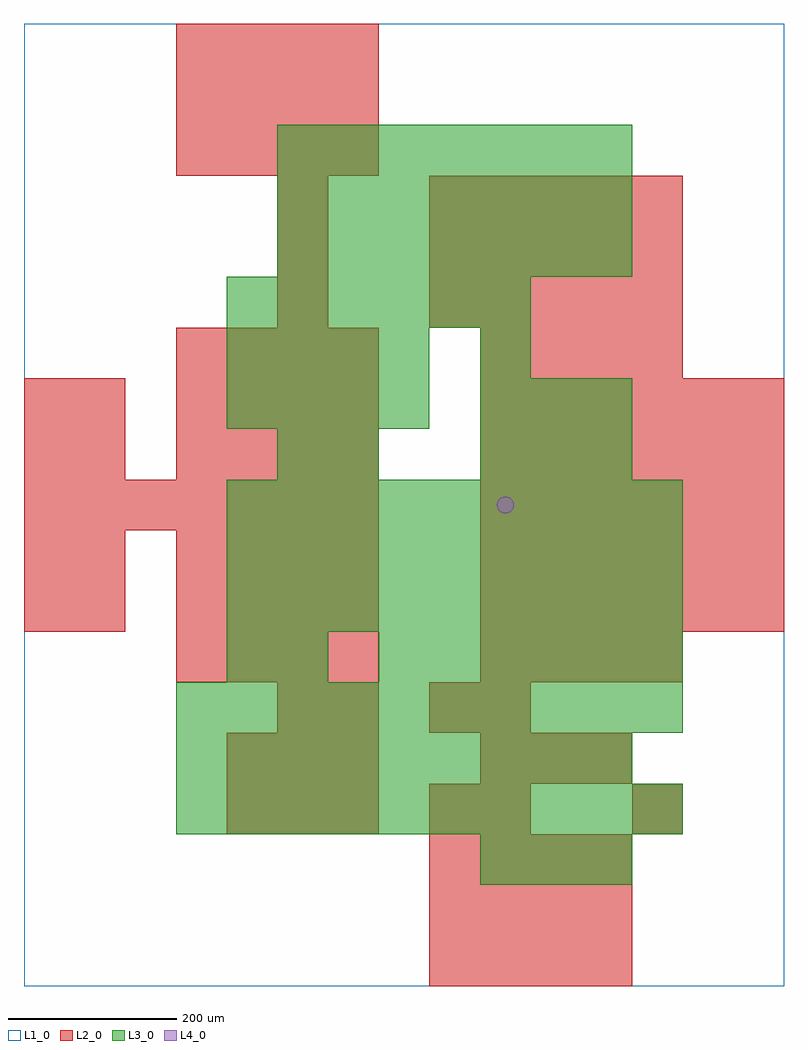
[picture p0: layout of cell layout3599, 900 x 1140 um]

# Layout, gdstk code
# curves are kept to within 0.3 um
import gdstk
lib = gdstk.Library(unit=1e-6, precision=1e-09)
def R(c, l, rs):  # rectangles x0, y0, x1, y1
    for r in rs: c.add(gdstk.rectangle(r[:2], r[2:], *l))
def A(c, l, x, y, w, h, nx, ny, dx, dy):  # array of equal rectangles
    R(c, l, [(x+i*dx, y+j*dy, x+i*dx+w, y+j*dy+h) for i in range(nx) for j in range(ny)])
def P(c, l, *ps):  # polygons
    for p in ps: c.add(gdstk.Polygon(p, *l))
L1_0 = (1, 0)
L2_0 = (2, 0)
L3_0 = (3, 0)
L4_0 = (4, 0)

layout3599 = lib.new_cell('layout3599')
R(layout3599, L1_0, [(0,0,900,1140)])
A(layout3599, L2_0, 480, 0, 60, 60, 4, 3, 60, 60)
A(layout3599, L2_0, 240, 180, 60, 60, 3, 2, 60, 60)
A(layout3599, L2_0, 540, 240, 60, 60, 3, 1, 60, 0)
A(layout3599, L2_0, 180, 360, 60, 60, 4, 3, 60, 60)
A(layout3599, L2_0, 540, 360, 60, 60, 4, 2, 60, 360)
A(layout3599, L2_0, 540, 420, 60, 60, 6, 5, 60, 60)
A(layout3599, L2_0, 0, 540, 60, 60, 7, 1, 60, 0)
A(layout3599, L2_0, 180, 600, 60, 60, 4, 3, 60, 60)
A(layout3599, L2_0, 300, 780, 60, 60, 1, 3, 0, 60)
A(layout3599, L2_0, 480, 780, 60, 60, 5, 3, 60, 60)
A(layout3599, L2_0, 180, 960, 60, 60, 4, 3, 60, 60)
R(layout3599, L2_0, [(480,180,540,240), (540,180,600,240), (720,180,780,240), (300,300,360,360), (360,300,420,360), (480,300,540,360), (540,300,600,360), (0,420,60,480), (60,420,120,480), (0,480,60,540), (60,480,120,540), (0,600,60,660), (60,600,120,660), (0,660,60,720), (60,660,120,720)])
A(layout3599, L3_0, 540, 120, 60, 60, 3, 2, 60, 480)
A(layout3599, L3_0, 180, 180, 60, 60, 10, 2, 60, 120)
A(layout3599, L3_0, 180, 240, 60, 60, 9, 1, 60, 0)
A(layout3599, L3_0, 420, 360, 60, 60, 6, 1, 60, 0)
A(layout3599, L3_0, 240, 420, 60, 60, 9, 3, 60, 60)
A(layout3599, L3_0, 240, 660, 60, 60, 4, 2, 60, 60)
A(layout3599, L3_0, 540, 660, 60, 60, 3, 1, 60, 0)
A(layout3599, L3_0, 240, 780, 60, 60, 6, 1, 60, 0)
A(layout3599, L3_0, 300, 840, 60, 60, 7, 3, 60, 60)
R(layout3599, L3_0, [(240,360,300,420), (300,360,360,420), (300,600,360,660), (360,600,420,660), (540,720,600,780)])
P(layout3599, L4_0, [(580,570),(579.239,573.827),(577.071,577.071),(573.827,579.239),(570,580),(566.173,579.239),(562.929,577.071),(560.761,573.827),(560,570),(560.761,566.173),(562.929,562.929),(566.173,560.761),(570,560),(573.827,560.761),(577.071,562.929),(579.239,566.173)])

lib.write_gds('layout3599.gds')
